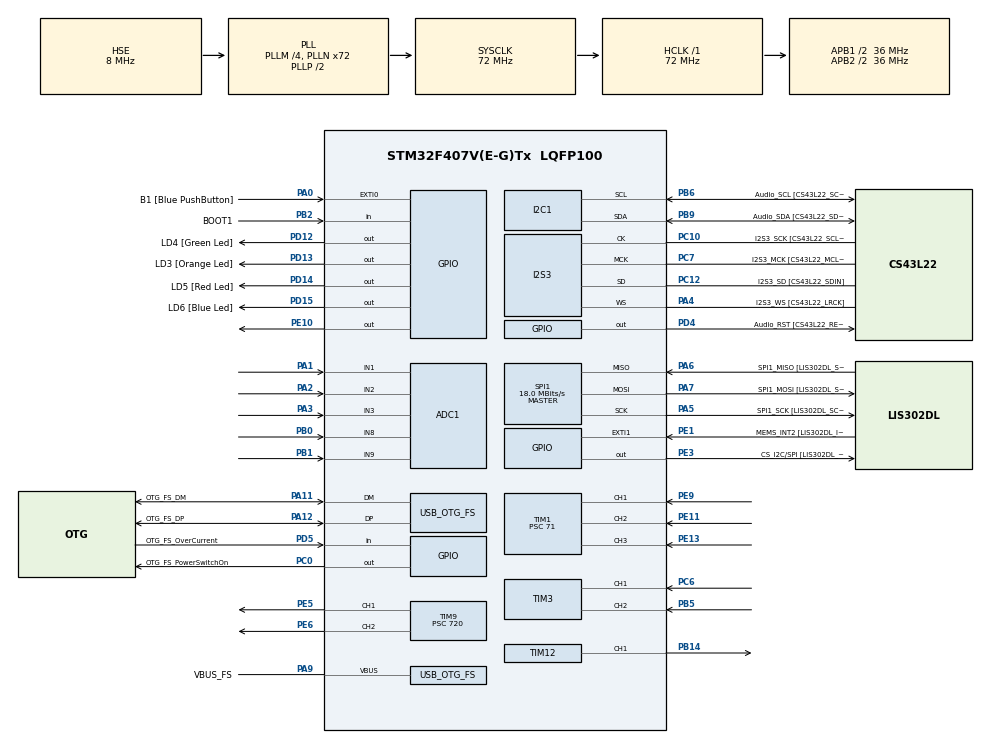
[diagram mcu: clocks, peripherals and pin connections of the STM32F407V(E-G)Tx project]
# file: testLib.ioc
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ADC1.Channel-0\#ChannelRegularConversion=ADC_CHANNEL_1
ADC1.Channel-1\#ChannelRegularConversion=ADC_CHANNEL_2
ADC1.Channel-2\#ChannelRegularConversion=ADC_CHANNEL_3
ADC1.Channel-3\#ChannelRegularConversion=ADC_CHANNEL_8
ADC1.Channel-4\#ChannelRegularConversion=ADC_CHANNEL_9
ADC1.ContinuousConvMode=ENABLE
ADC1.DMAContinuousRequests=ENABLE
ADC1.NbrOfConversion=5
ADC1.NbrOfConversionFlag=1
ADC1.Rank-0\#ChannelRegularConversion=1
ADC1.Rank-1\#ChannelRegularConversion=2
ADC1.Rank-2\#ChannelRegularConversion=3
ADC1.Rank-3\#ChannelRegularConversion=4
ADC1.Rank-4\#ChannelRegularConversion=5
ADC1.SamplingTime-0\#ChannelRegularConversion=ADC_SAMPLETIME_144CYCLES
ADC1.SamplingTime-1\#ChannelRegularConversion=ADC_SAMPLETIME_144CYCLES
ADC1.SamplingTime-2\#ChannelRegularConversion=ADC_SAMPLETIME_144CYCLES
ADC1.SamplingTime-3\#ChannelRegularConversion=ADC_SAMPLETIME_144CYCLES
ADC1.SamplingTime-4\#ChannelRegularConversion=ADC_SAMPLETIME_144CYCLES
ADC1.ScanConvMode=ENABLE
ADC1.master=1
Dma.ADC1.0.Direction=DMA_PERIPH_TO_MEMORY
Dma.ADC1.0.FIFOMode=DMA_FIFOMODE_DISABLE
Dma.ADC1.0.Instance=DMA2_Stream0
Dma.ADC1.0.MemDataAlignment=DMA_MDATAALIGN_HALFWORD
Dma.ADC1.0.MemInc=DMA_MINC_ENABLE
Dma.ADC1.0.Mode=DMA_CIRCULAR
Dma.ADC1.0.PeriphDataAlignment=DMA_PDATAALIGN_HALFWORD
Dma.ADC1.0.PeriphInc=DMA_PINC_DISABLE
Dma.ADC1.0.Priority=DMA_PRIORITY_LOW
Dma.Request0=ADC1
I2S3.AudioFreq=I2S_AUDIOFREQ_96K
I2S3.AudioFreq-Half_Duplex_Master=I2S_AUDIOFREQ_96K
I2S3.ErrorAudioFreq=- %
I2S3.ErrorAudioFreq-Half_Duplex_Master=0.8 %
I2S3.FullDuplexMode=I2S_FULLDUPLEXMODE_DISABLE
I2S3.Instance=SPI$Index
I2S3.RealAudioFreq=- Hz
I2S3.RealAudioFreq-Half_Duplex_Master=96.774 KHz
I2S3.VirtualMode=I2S_MODE_MASTER
Mcu.Family=STM32F4
Mcu.Name=STM32F407V(E-G)Tx
Mcu.Package=LQFP100
NVIC.ADC_IRQn=true\:0\:0\:false\:false\:true\:true\:true\:true
NVIC.DMA2_Stream0_IRQn=true\:0\:0\:false\:false\:true\:false\:true\:true
NVIC.OTG_FS_IRQn=true\:0\:0\:false\:false\:true\:true\:true\:true
NVIC.PriorityGroup=NVIC_PRIORITYGROUP_0
NVIC.TIM1_CC_IRQn=true\:0\:1\:false\:false\:true\:true\:true\:true
NVIC.TIM2_IRQn=true\:0\:0\:false\:false\:true\:true\:true\:true
NVIC.TIM3_IRQn=true\:0\:0\:false\:false\:true\:true\:true\:true
NVIC.TIM8_BRK_TIM12_IRQn=true\:0\:0\:true\:false\:true\:true\:true\:true
PA0-WKUP.GPIO_Label=B1 [Blue PushButton]
PA0-WKUP.GPIO_ModeDefaultEXTI=GPIO_MODE_EVT_RISING
PA0-WKUP.GPIO_PuPd=GPIO_NOPULL
PA0-WKUP.Signal=GPXTI0
PA1.Signal=ADCx_IN1
PA10.GPIO_Label=OTG_FS_ID
PA10.GPIO_Mode=GPIO_MODE_AF_PP
PA10.GPIO_PuPd=GPIO_NOPULL
PA10.GPIO_Speed=GPIO_SPEED_FREQ_LOW
PA10.Signal=USB_OTG_FS_ID
PA11.GPIO_Label=OTG_FS_DM
PA11.GPIO_Mode=GPIO_MODE_AF_PP
PA11.GPIO_PuPd=GPIO_NOPULL
PA11.GPIO_Speed=GPIO_SPEED_FREQ_LOW
PA11.Mode=Host_Only
PA11.Signal=USB_OTG_FS_DM
PA12.GPIO_Label=OTG_FS_DP
PA12.GPIO_Mode=GPIO_MODE_AF_PP
PA12.GPIO_PuPd=GPIO_NOPULL
PA12.GPIO_Speed=GPIO_SPEED_FREQ_LOW
PA12.Mode=Host_Only
PA12.Signal=USB_OTG_FS_DP
PA13.GPIO_Label=SWDIO
PA13.Mode=Serial_Wire
PA13.Signal=SYS_JTMS-SWDIO
PA14.GPIO_Label=SWCLK
PA14.Mode=Serial_Wire
PA14.Signal=SYS_JTCK-SWCLK
PA2.Signal=ADCx_IN2
PA3.Signal=ADCx_IN3
PA4.GPIO_Label=I2S3_WS [CS43L22_LRCK]
PA4.GPIO_Mode=GPIO_MODE_AF_PP
PA4.GPIO_PuPd=GPIO_NOPULL
PA4.GPIO_Speed=GPIO_SPEED_FREQ_LOW
PA4.Mode=Half_Duplex_Master
PA4.Signal=I2S3_WS
PA5.GPIO_Label=SPI1_SCK [LIS302DL_SCL/SPC]
PA5.GPIO_Mode=GPIO_MODE_AF_PP
PA5.GPIO_PuPd=GPIO_NOPULL
PA5.GPIO_Speed=GPIO_SPEED_FREQ_LOW
PA5.Mode=Full_Duplex_Master
PA5.Signal=SPI1_SCK
PA6.GPIO_Label=SPI1_MISO [LIS302DL_SDO]
PA6.GPIO_Mode=GPIO_MODE_AF_PP
PA6.GPIO_PuPd=GPIO_NOPULL
PA6.GPIO_Speed=GPIO_SPEED_FREQ_LOW
PA6.Mode=Full_Duplex_Master
PA6.Signal=SPI1_MISO
PA7.GPIO_Label=SPI1_MOSI [LIS302DL_SDA/SDI/SDO]
PA7.GPIO_Mode=GPIO_MODE_AF_PP
PA7.GPIO_PuPd=GPIO_NOPULL
PA7.GPIO_Speed=GPIO_SPEED_FREQ_LOW
PA7.Mode=Full_Duplex_Master
PA7.Signal=SPI1_MOSI
PA9.GPIO_Label=VBUS_FS
PA9.GPIO_Mode=GPIO_MODE_INPUT
PA9.GPIO_PuPd=GPIO_NOPULL
PA9.Mode=Activate_VBUS
PA9.Signal=USB_OTG_FS_VBUS
PB0.Signal=ADCx_IN8
PB1.Signal=ADCx_IN9
PB10.GPIO_Label=CLK_IN [MP45DT02_CLK]
PB10.GPIO_Mode=GPIO_MODE_AF_PP
PB10.GPIO_PuPd=GPIO_NOPULL
PB10.GPIO_Speed=GPIO_SPEED_FREQ_LOW
PB10.Signal=I2S2_CK
PB14.Signal=S_TIM12_CH1
PB2.GPIO_Label=BOOT1
PB2.GPIO_Mode=GPIO_MODE_INPUT
PB2.GPIO_PuPd=GPIO_NOPULL
PB2.Signal=GPIO_Input
PB3.GPIO_Label=SWO
PB3.Signal=SYS_JTDO-SWO
PB5.Signal=S_TIM3_CH2
PB6.GPIO_Label=Audio_SCL [CS43L22_SCL]
PB6.GPIO_Mode=GPIO_MODE_AF_OD
PB6.GPIO_Pu=GPIO_PULLUP
PB6.GPIO_PuPd=GPIO_NOPULL
PB6.GPIO_Speed=GPIO_SPEED_FREQ_LOW
PB6.Mode=I2C
PB6.Signal=I2C1_SCL
PB9.GPIO_Label=Audio_SDA [CS43L22_SDA]
PB9.GPIO_Mode=GPIO_MODE_AF_OD
PB9.GPIO_Pu=GPIO_PULLUP
PB9.GPIO_PuPd=GPIO_NOPULL
PB9.GPIO_Speed=GPIO_SPEED_FREQ_LOW
PB9.Mode=I2C
PB9.Signal=I2C1_SDA
PC0.GPIO_Label=OTG_FS_PowerSwitchOn
PC0.GPIO_PuPd=GPIO_NOPULL
PC0.GPIO_Speed=GPIO_SPEED_FREQ_LOW
PC0.PinState=GPIO_PIN_SET
PC0.Signal=GPIO_Output
PC10.GPIO_Label=I2S3_SCK [CS43L22_SCLK]
PC10.GPIO_Mode=GPIO_MODE_AF_PP
PC10.GPIO_PuPd=GPIO_NOPULL
PC10.GPIO_Speed=GPIO_SPEED_FREQ_LOW
PC10.Mode=Half_Duplex_Master
PC10.Signal=I2S3_CK
PC12.GPIO_Label=I2S3_SD [CS43L22_SDIN]
PC12.GPIO_Mode=GPIO_MODE_AF_PP
PC12.GPIO_PuPd=GPIO_NOPULL
PC12.GPIO_Speed=GPIO_SPEED_FREQ_LOW
PC12.Mode=Half_Duplex_Master
PC12.Signal=I2S3_SD
PC14-OSC32_IN.GPIO_Label=PC14-OSC32_IN
PC14-OSC32_IN.Mode=LSE-External-Oscillator
PC14-OSC32_IN.Signal=RCC_OSC32_IN
PC15-OSC32_OUT.GPIO_Label=PC15-OSC32_OUT
PC15-OSC32_OUT.Mode=LSE-External-Oscillator
PC15-OSC32_OUT.Signal=RCC_OSC32_OUT
PC3.GPIO_Label=PDM_OUT [MP45DT02_DOUT]
PC3.GPIO_Mode=GPIO_MODE_AF_PP
PC3.GPIO_PuPd=GPIO_NOPULL
PC3.GPIO_Speed=GPIO_SPEED_FREQ_LOW
PC3.Signal=I2S2_SD
PC6.Signal=S_TIM3_CH1
PC7.GPIO_Label=I2S3_MCK [CS43L22_MCLK]
PC7.GPIO_Mode=GPIO_MODE_AF_PP
PC7.GPIO_PuPd=GPIO_NOPULL
PC7.GPIO_Speed=GPIO_SPEED_FREQ_LOW
PC7.Mode=Master_Clock_Activated
PC7.Signal=I2S3_MCK
PD12.GPIO_Label=LD4 [Green Led]
PD12.GPIO_PuPd=GPIO_NOPULL
PD12.GPIO_Speed=GPIO_SPEED_FREQ_LOW
PD12.Signal=GPIO_Output
PD13.GPIO_Label=LD3 [Orange Led]
PD13.GPIO_PuPd=GPIO_NOPULL
PD13.GPIO_Speed=GPIO_SPEED_FREQ_LOW
PD13.Signal=GPIO_Output
PD14.GPIO_Label=LD5 [Red Led]
PD14.GPIO_PuPd=GPIO_NOPULL
PD14.GPIO_Speed=GPIO_SPEED_FREQ_LOW
PD14.Signal=GPIO_Output
PD15.GPIO_Label=LD6 [Blue Led]
PD15.GPIO_PuPd=GPIO_NOPULL
PD15.GPIO_Speed=GPIO_SPEED_FREQ_LOW
PD15.Signal=GPIO_Output
PD4.GPIO_Label=Audio_RST [CS43L22_RESET]
PD4.GPIO_PuPd=GPIO_NOPULL
PD4.GPIO_Speed=GPIO_SPEED_FREQ_LOW
PD4.Signal=GPIO_Output
PD5.GPIO_Label=OTG_FS_OverCurrent
PD5.GPIO_Mode=GPIO_MODE_INPUT
PD5.GPIO_PuPd=GPIO_NOPULL
PD5.Signal=GPIO_Input
PE1.GPIO_Label=MEMS_INT2 [LIS302DL_INT2]
PE1.GPIO_ModeDefaultEXTI=GPIO_MODE_EVT_RISING
PE1.GPIO_PuPd=GPIO_NOPULL
PE1.Signal=GPXTI1
PE10.Signal=GPIO_Output
PE11.Signal=S_TIM1_CH2
PE13.Signal=S_TIM1_CH3
PE3.GPIO_Label=CS_I2C/SPI [LIS302DL_CS_I2C/SPI]
PE3.GPIO_PuPd=GPIO_NOPULL
PE3.GPIO_Speed=GPIO_SPEED_FREQ_LOW
PE3.Signal=GPIO_Output
PE5.Signal=S_TIM9_CH1
PE6.Signal=S_TIM9_CH2
PE9.Signal=S_TIM1_CH1
PH0-OSC_IN.GPIO_Label=PH0-OSC_IN
PH0-OSC_IN.Mode=HSE-External-Oscillator
PH0-OSC_IN.Signal=RCC_OSC_IN
PH1-OSC_OUT.GPIO_Label=PH1-OSC_OUT
PH1-OSC_OUT.Mode=HSE-External-Oscillator
PH1-OSC_OUT.Signal=RCC_OSC_OUT
ProjectManager.HeapSize=0x200
ProjectManager.StackSize=0x400
ProjectManager.TargetToolchain=STM32CubeIDE
RCC.48MHZClocksFreq_Value=48000000
RCC.AHBFreq_Value=72000000
RCC.APB1CLKDivider=RCC_HCLK_DIV2
RCC.APB1Freq_Value=36000000
RCC.APB1TimFreq_Value=72000000
RCC.APB2CLKDivider=RCC_HCLK_DIV2
RCC.APB2Freq_Value=36000000
RCC.APB2TimFreq_Value=72000000
RCC.CortexFreq_Value=72000000
RCC.HCLKFreq_Value=72000000
RCC.HSE_VALUE=8000000
RCC.HSI_VALUE=16000000
RCC.PLLI2SN=50
RCC.PLLM=4
RCC.PLLN=72
RCC.PLLQ=3
RCC.SYSCLKFreq_VALUE=72000000
RCC.SYSCLKSource=RCC_SYSCLKSOURCE_PLLCLK
RCC.VCOOutputFreq_Value=144000000
SH.ADCx_IN1.0=ADC1_IN1,IN1
SH.ADCx_IN2.0=ADC1_IN2,IN2
SH.ADCx_IN3.0=ADC1_IN3,IN3
SH.ADCx_IN8.0=ADC1_IN8,IN8
SH.ADCx_IN9.0=ADC1_IN9,IN9
SH.S_TIM12_CH1.0=TIM12_CH1,PWM Generation1 CH1
SH.S_TIM1_CH1.0=TIM1_CH1,Input_Capture1_from_TI1
SH.S_TIM1_CH2.0=TIM1_CH2,Input_Capture2_from_TI2
SH.S_TIM1_CH3.0=TIM1_CH3,Input_Capture3_from_TI3
SH.S_TIM3_CH1.0=TIM3_CH1,Encoder_Interface
SH.S_TIM3_CH2.0=TIM3_CH2,Encoder_Interface
SH.S_TIM9_CH1.0=TIM9_CH1,PWM Generation1 CH1
SH.S_TIM9_CH2.0=TIM9_CH2,PWM Generation2 CH2
SPI1.BaudRatePrescaler-Full_Duplex_Master=SPI_BAUDRATEPRESCALER_2
SPI1.CalculateBaudRate=18.0 MBits/s
SPI1.CalculateBaudRate-Full_Duplex_Master=42.0 MBits/s
SPI1.Direction=SPI_DIRECTION_2LINES
SPI1.Mode=SPI_MODE_MASTER
SPI1.Mode-Full_Duplex_Master=SPI_MODE_MASTER
SPI1.VirtualType=VM_MASTER
TIM1.Channel-Input_Capture1_from_TI1=TIM_CHANNEL_1
TIM1.Channel-Input_Capture2_from_TI2=TIM_CHANNEL_2
TIM1.Channel-Input_Capture3_from_TI3=TIM_CHANNEL_3
TIM1.ICPolarity_CH1=TIM_INPUTCHANNELPOLARITY_RISING
TIM1.Prescaler=71
TIM12.Channel-PWM\ Generation1\ CH1=TIM_CHANNEL_1
TIM12.Period=9999
TIM12.Prescaler=144-1
TIM12.Pulse-PWM\ Generation1\ CH1=750-1
TIM2.Period=150-1
TIM2.Prescaler=7200-1
TIM3.EncoderMode=TIM_ENCODERMODE_TI12
TIM9.Channel-PWM\ Generation1\ CH1=TIM_CHANNEL_1
TIM9.Channel-PWM\ Generation2\ CH2=TIM_CHANNEL_2
TIM9.Period=1023
TIM9.Prescaler=720
TIM9.Pulse-PWM\ Generation1\ CH1=500
TIM9.Pulse-PWM\ Generation2\ CH2=500
USB_HOST.BSP.number=1
USB_HOST.USBH_HandleTypeDef-CDC_FS=hUsbHostFS
USB_HOST.VirtualModeFS=Cdc
USB_HOST0.BSP.STBoard=false
USB_HOST0.BSP.api=Unknown
USB_HOST0.BSP.instance=PC0
USB_HOST0.BSP.ip=GPIO
USB_HOST0.BSP.mode=Output
USB_HOST0.BSP.name=Drive_VBUS_FS
USB_HOST0.BSP.solution=PC0
USB_OTG_FS.VirtualMode=Host_Only
USB_OTG_FS.phy_itface=HCD_PHY_EMBEDDED
VP_TIM12_VS_ClockSourceINT.Mode=Internal
VP_TIM1_VS_ClockSourceINT.Mode=Internal
VP_TIM2_VS_ClockSourceINT.Mode=Internal
VP_TIM9_VS_ClockSourceINT.Mode=Internal
VP_USB_HOST_VS_USB_HOST_CDC_FS.Mode=CDC_FS
board=STM32F407G-DISC1

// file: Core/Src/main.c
/* USER CODE BEGIN Header */
/**
  ******************************************************************************
  * @file           : main.c
  * @brief          : Main program body
  ******************************************************************************
  * @attention
  *
  * Copyright (c) 2024 STMicroelectronics.
  * All rights reserved.
  *
  * This software is licensed under terms that can be found in the LICENSE file
  * in the root directory of this software component.
  * If no LICENSE file comes with this software, it is provided AS-IS.
  *
  ******************************************************************************
  */
/* USER CODE END Header */
#include "main.h"
#include "usb_host.h"

/* USER CODE BEGIN Includes */
#include ".\PID\PID.h"
#include ".\PWM control\PWMcontrol.h"
#include ".\Encoder\encoder.h"
#include "./ultraSonic/ultraSonic.h"
#include "./AVERAGE FILTER/average_filter.h"
/* USER CODE END Includes */

ADC_HandleTypeDef hadc1;
DMA_HandleTypeDef hdma_adc1;

I2C_HandleTypeDef hi2c1;

I2S_HandleTypeDef hi2s3;

SPI_HandleTypeDef hspi1;

TIM_HandleTypeDef htim1;
TIM_HandleTypeDef htim2;
TIM_HandleTypeDef htim3;
TIM_HandleTypeDef htim9;
TIM_HandleTypeDef htim12;

/* USER CODE BEGIN PV */
PWMcontrol servo;
PWMcontrol motor;
Encoder enc;
ultraSonic sensor1;
ultraSonic sensor2;
ultraSonic sensor3;
ultraSonic temp;
average_filter filter1;
average_filter filter2;
average_filter filter3;
uint16_t adc[5];
/* USER CODE END PV */

void SystemClock_Config(void);
static void MX_GPIO_Init(void);
static void MX_DMA_Init(void);
static void MX_I2C1_Init(void);
static void MX_I2S3_Init(void);
static void MX_SPI1_Init(void);
static void MX_TIM1_Init(void);
static void MX_TIM2_Init(void);
static void MX_TIM3_Init(void);
static void MX_TIM9_Init(void);
static void MX_ADC1_Init(void);
static void MX_TIM12_Init(void);
void MX_USB_HOST_Process(void);

int main(void)
{

  /* MCU Configuration--------------------------------------------------------*/

  /* Reset of all peripherals, Initializes the Flash interface and the Systick. */
  HAL_Init();

  /* Configure the system clock */
  SystemClock_Config();

  /* Initialize all configured peripherals */
  MX_GPIO_Init();
  MX_DMA_Init();
  MX_I2C1_Init();
  MX_I2S3_Init();
  MX_SPI1_Init();
  MX_USB_HOST_Init();
  MX_TIM1_Init();
  MX_TIM2_Init();
  MX_TIM3_Init();
  MX_TIM9_Init();
  MX_ADC1_Init();
  MX_TIM12_Init();
  /* USER CODE BEGIN 2 */
  	ultraSonic_Init(&sensor1, &htim1, &filter1, GPIOE, GPIO_PIN_10);
    ultraSonic_Init(&sensor2, &htim1, &filter2, GPIOE, GPIO_PIN_10);
    ultraSonic_Init(&sensor3, &htim1, &filter3, GPIOE, GPIO_PIN_10);
    HAL_TIM_PWM_Start(&htim12, TIM_CHANNEL_1);
    Servo_Init(&servo, &htim12, TIM_CHANNEL_1, 750);
    HAL_TIM_PWM_Start(&htim9, TIM_CHANNEL_1);
    HAL_TIM_PWM_Start(&htim9, TIM_CHANNEL_2);
    Motor_Init(&motor, &htim9, TIM_CHANNEL_1, TIM_CHANNEL_2);
    Encoder_Init(&enc, &htim3);
    HAL_ADC_Start_DMA(&hadc1,(uint32_t *)adc, 5);
    HAL_TIM_Base_Start_IT(&htim2);
  /* USER CODE END 2 */

  /* Infinite loop */
  while (1)
  {
    MX_USB_HOST_Process();

    /* USER CODE BEGIN 3 */
    set_motor(&motor, BACKWARD, 500);
//    set_servo(&servo, 250);
//    HAL_Delay(1000);
//    set_servo(&servo, 1200);
//    HAL_Delay(1000);
  }
  /* USER CODE END 3 */
}

void SystemClock_Config(void)
{
  RCC_OscInitTypeDef RCC_OscInitStruct = {0};
  RCC_ClkInitTypeDef RCC_ClkInitStruct = {0};

  /** Configure the main internal regulator output voltage
  */
  __HAL_RCC_PWR_CLK_ENABLE();
  __HAL_PWR_VOLTAGESCALING_CONFIG(PWR_REGULATOR_VOLTAGE_SCALE1);

  /** Initializes the RCC Oscillators according to the specified parameters
  * in the RCC_OscInitTypeDef structure.
  */
  RCC_OscInitStruct.OscillatorType = RCC_OSCILLATORTYPE_HSE;
  RCC_OscInitStruct.HSEState = RCC_HSE_ON;
  RCC_OscInitStruct.PLL.PLLState = RCC_PLL_ON;
  RCC_OscInitStruct.PLL.PLLSource = RCC_PLLSOURCE_HSE;
  RCC_OscInitStruct.PLL.PLLM = 4;
  RCC_OscInitStruct.PLL.PLLN = 72;
  RCC_OscInitStruct.PLL.PLLP = RCC_PLLP_DIV2;
  RCC_OscInitStruct.PLL.PLLQ = 3;
  if (HAL_RCC_OscConfig(&RCC_OscInitStruct) != HAL_OK)
  {
    Error_Handler();
  }

  /** Initializes the CPU, AHB and APB buses clocks
  */
  RCC_ClkInitStruct.ClockType = RCC_CLOCKTYPE_HCLK|RCC_CLOCKTYPE_SYSCLK
                              |RCC_CLOCKTYPE_PCLK1|RCC_CLOCKTYPE_PCLK2;
  RCC_ClkInitStruct.SYSCLKSource = RCC_SYSCLKSOURCE_PLLCLK;
  RCC_ClkInitStruct.AHBCLKDivider = RCC_SYSCLK_DIV1;
  RCC_ClkInitStruct.APB1CLKDivider = RCC_HCLK_DIV2;
  RCC_ClkInitStruct.APB2CLKDivider = RCC_HCLK_DIV2;

  if (HAL_RCC_ClockConfig(&RCC_ClkInitStruct, FLASH_LATENCY_2) != HAL_OK)
  {
    Error_Handler();
  }
}

static void MX_ADC1_Init(void)
{

  ADC_ChannelConfTypeDef sConfig = {0};

  /** Configure the global features of the ADC (Clock, Resolution, Data Alignment and number of conversion)
  */
  hadc1.Instance = ADC1;
  hadc1.Init.ClockPrescaler = ADC_CLOCK_SYNC_PCLK_DIV2;
  hadc1.Init.Resolution = ADC_RESOLUTION_12B;
  hadc1.Init.ScanConvMode = ENABLE;
  hadc1.Init.ContinuousConvMode = ENABLE;
  hadc1.Init.DiscontinuousConvMode = DISABLE;
  hadc1.Init.ExternalTrigConvEdge = ADC_EXTERNALTRIGCONVEDGE_NONE;
  hadc1.Init.ExternalTrigConv = ADC_SOFTWARE_START;
  hadc1.Init.DataAlign = ADC_DATAALIGN_RIGHT;
  hadc1.Init.NbrOfConversion = 5;
  hadc1.Init.DMAContinuousRequests = ENABLE;
  hadc1.Init.EOCSelection = ADC_EOC_SINGLE_CONV;
  if (HAL_ADC_Init(&hadc1) != HAL_OK)
  {
    Error_Handler();
  }

  /** Configure for the selected ADC regular channel its corresponding rank in the sequencer and its sample time.
  */
  sConfig.Channel = ADC_CHANNEL_1;
  sConfig.Rank = 1;
  sConfig.SamplingTime = ADC_SAMPLETIME_144CYCLES;
  if (HAL_ADC_ConfigChannel(&hadc1, &sConfig) != HAL_OK)
  {
    Error_Handler();
  }

  /** Configure for the selected ADC regular channel its corresponding rank in the sequencer and its sample time.
  */
  sConfig.Channel = ADC_CHANNEL_2;
  sConfig.Rank = 2;
  if (HAL_ADC_ConfigChannel(&hadc1, &sConfig) != HAL_OK)
  {
    Error_Handler();
  }

  /** Configure for the selected ADC regular channel its corresponding rank in the sequencer and its sample time.
  */
  sConfig.Channel = ADC_CHANNEL_3;
  sConfig.Rank = 3;
  if (HAL_ADC_ConfigChannel(&hadc1, &sConfig) != HAL_OK)
  {
    Error_Handler();
  }

  /** Configure for the selected ADC regular channel its corresponding rank in the sequencer and its sample time.
  */
  sConfig.Channel = ADC_CHANNEL_8;
  sConfig.Rank = 4;
  if (HAL_ADC_ConfigChannel(&hadc1, &sConfig) != HAL_OK)
  {
    Error_Handler();
  }

  /** Configure for the selected ADC regular channel its corresponding rank in the sequencer and its sample time.
  */
  sConfig.Channel = ADC_CHANNEL_9;
  sConfig.Rank = 5;
  if (HAL_ADC_ConfigChannel(&hadc1, &sConfig) != HAL_OK)
  {
    Error_Handler();
  }

}

static void MX_I2C1_Init(void)
{

  hi2c1.Instance = I2C1;
  hi2c1.Init.ClockSpeed = 100000;
  hi2c1.Init.DutyCycle = I2C_DUTYCYCLE_2;
  hi2c1.Init.OwnAddress1 = 0;
  hi2c1.Init.AddressingMode = I2C_ADDRESSINGMODE_7BIT;
  hi2c1.Init.DualAddressMode = I2C_DUALADDRESS_DISABLE;
  hi2c1.Init.OwnAddress2 = 0;
  hi2c1.Init.GeneralCallMode = I2C_GENERALCALL_DISABLE;
  hi2c1.Init.NoStretchMode = I2C_NOSTRETCH_DISABLE;
  if (HAL_I2C_Init(&hi2c1) != HAL_OK)
  {
    Error_Handler();
  }

}

static void MX_I2S3_Init(void)
{

  hi2s3.Instance = SPI3;
  hi2s3.Init.Mode = I2S_MODE_MASTER_TX;
  hi2s3.Init.Standard = I2S_STANDARD_PHILIPS;
  hi2s3.Init.DataFormat = I2S_DATAFORMAT_16B;
  hi2s3.Init.MCLKOutput = I2S_MCLKOUTPUT_ENABLE;
  hi2s3.Init.AudioFreq = I2S_AUDIOFREQ_96K;
  hi2s3.Init.CPOL = I2S_CPOL_LOW;
  hi2s3.Init.ClockSource = I2S_CLOCK_PLL;
  hi2s3.Init.FullDuplexMode = I2S_FULLDUPLEXMODE_DISABLE;
  if (HAL_I2S_Init(&hi2s3) != HAL_OK)
  {
    Error_Handler();
  }

}

static void MX_SPI1_Init(void)
{

  /* SPI1 parameter configuration*/
  hspi1.Instance = SPI1;
  hspi1.Init.Mode = SPI_MODE_MASTER;
  hspi1.Init.Direction = SPI_DIRECTION_2LINES;
  hspi1.Init.DataSize = SPI_DATASIZE_8BIT;
  hspi1.Init.CLKPolarity = SPI_POLARITY_LOW;
  hspi1.Init.CLKPhase = SPI_PHASE_1EDGE;
  hspi1.Init.NSS = SPI_NSS_SOFT;
  hspi1.Init.BaudRatePrescaler = SPI_BAUDRATEPRESCALER_2;
  hspi1.Init.FirstBit = SPI_FIRSTBIT_MSB;
  hspi1.Init.TIMode = SPI_TIMODE_DISABLE;
  hspi1.Init.CRCCalculation = SPI_CRCCALCULATION_DISABLE;
  hspi1.Init.CRCPolynomial = 10;
  if (HAL_SPI_Init(&hspi1) != HAL_OK)
  {
    Error_Handler();
  }

}

static void MX_TIM1_Init(void)
{

  TIM_ClockConfigTypeDef sClockSourceConfig = {0};
  TIM_MasterConfigTypeDef sMasterConfig = {0};
  TIM_IC_InitTypeDef sConfigIC = {0};

  htim1.Instance = TIM1;
  htim1.Init.Prescaler = 71;
  htim1.Init.CounterMode = TIM_COUNTERMODE_UP;
  htim1.Init.Period = 65535;
  htim1.Init.ClockDivision = TIM_CLOCKDIVISION_DIV1;
  htim1.Init.RepetitionCounter = 0;
  htim1.Init.AutoReloadPreload = TIM_AUTORELOAD_PRELOAD_DISABLE;
  if (HAL_TIM_Base_Init(&htim1) != HAL_OK)
  {
    Error_Handler();
  }
  sClockSourceConfig.ClockSource = TIM_CLOCKSOURCE_INTERNAL;
  if (HAL_TIM_ConfigClockSource(&htim1, &sClockSourceConfig) != HAL_OK)
  {
    Error_Handler();
  }
  if (HAL_TIM_IC_Init(&htim1) != HAL_OK)
  {
    Error_Handler();
  }
  sMasterConfig.MasterOutputTrigger = TIM_TRGO_RESET;
  sMasterConfig.MasterSlaveMode = TIM_MASTERSLAVEMODE_DISABLE;
  if (HAL_TIMEx_MasterConfigSynchronization(&htim1, &sMasterConfig) != HAL_OK)
  {
    Error_Handler();
  }
  sConfigIC.ICPolarity = TIM_INPUTCHANNELPOLARITY_RISING;
  sConfigIC.ICSelection = TIM_ICSELECTION_DIRECTTI;
  sConfigIC.ICPrescaler = TIM_ICPSC_DIV1;
  sConfigIC.ICFilter = 0;
  if (HAL_TIM_IC_ConfigChannel(&htim1, &sConfigIC, TIM_CHANNEL_1) != HAL_OK)
  {
    Error_Handler();
  }
  if (HAL_TIM_IC_ConfigChannel(&htim1, &sConfigIC, TIM_CHANNEL_2) != HAL_OK)
  {
    Error_Handler();
  }
  if (HAL_TIM_IC_ConfigChannel(&htim1, &sConfigIC, TIM_CHANNEL_3) != HAL_OK)
  {
    Error_Handler();
  }

}

static void MX_TIM2_Init(void)
{

  TIM_ClockConfigTypeDef sClockSourceConfig = {0};
  TIM_MasterConfigTypeDef sMasterConfig = {0};

  htim2.Instance = TIM2;
  htim2.Init.Prescaler = 7200-1;
  htim2.Init.CounterMode = TIM_COUNTERMODE_UP;
  htim2.Init.Period = 150-1;
  htim2.Init.ClockDivision = TIM_CLOCKDIVISION_DIV1;
  htim2.Init.AutoReloadPreload = TIM_AUTORELOAD_PRELOAD_DISABLE;
  if (HAL_TIM_Base_Init(&htim2) != HAL_OK)
  {
    Error_Handler();
  }
  sClockSourceConfig.ClockSource = TIM_CLOCKSOURCE_INTERNAL;
  if (HAL_TIM_ConfigClockSource(&htim2, &sClockSourceConfig) != HAL_OK)
  {
    Error_Handler();
  }
  sMasterConfig.MasterOutputTrigger = TIM_TRGO_RESET;
  sMasterConfig.MasterSlaveMode = TIM_MASTERSLAVEMODE_DISABLE;
  if (HAL_TIMEx_MasterConfigSynchronization(&htim2, &sMasterConfig) != HAL_OK)
  {
    Error_Handler();
  }

}

static void MX_TIM3_Init(void)
{

  TIM_Encoder_InitTypeDef sConfig = {0};
  TIM_MasterConfigTypeDef sMasterConfig = {0};

  htim3.Instance = TIM3;
  htim3.Init.Prescaler = 0;
  htim3.Init.CounterMode = TIM_COUNTERMODE_UP;
  htim3.Init.Period = 65535;
  htim3.Init.ClockDivision = TIM_CLOCKDIVISION_DIV1;
  htim3.Init.AutoReloadPreload = TIM_AUTORELOAD_PRELOAD_DISABLE;
  sConfig.EncoderMode = TIM_ENCODERMODE_TI12;
  sConfig.IC1Polarity = TIM_ICPOLARITY_RISING;
  sConfig.IC1Selection = TIM_ICSELECTION_DIRECTTI;
  sConfig.IC1Prescaler = TIM_ICPSC_DIV1;
  sConfig.IC1Filter = 0;
  sConfig.IC2Polarity = TIM_ICPOLARITY_RISING;
  sConfig.IC2Selection = TIM_ICSELECTION_DIRECTTI;
  sConfig.IC2Prescaler = TIM_ICPSC_DIV1;
  sConfig.IC2Filter = 0;
  if (HAL_TIM_Encoder_Init(&htim3, &sConfig) != HAL_OK)
  {
    Error_Handler();
  }
  sMasterConfig.MasterOutputTrigger = TIM_TRGO_RESET;
  sMasterConfig.MasterSlaveMode = TIM_MASTERSLAVEMODE_DISABLE;
  if (HAL_TIMEx_MasterConfigSynchronization(&htim3, &sMasterConfig) != HAL_OK)
  {
    Error_Handler();
  }

}

static void MX_TIM9_Init(void)
{

  TIM_ClockConfigTypeDef sClockSourceConfig = {0};
  TIM_OC_InitTypeDef sConfigOC = {0};

  htim9.Instance = TIM9;
  htim9.Init.Prescaler = 720;
  htim9.Init.CounterMode = TIM_COUNTERMODE_UP;
  htim9.Init.Period = 1023;
  htim9.Init.ClockDivision = TIM_CLOCKDIVISION_DIV1;
  htim9.Init.AutoReloadPreload = TIM_AUTORELOAD_PRELOAD_DISABLE;
  if (HAL_TIM_Base_Init(&htim9) != HAL_OK)
  {
    Error_Handler();
  }
  sClockSourceConfig.ClockSource = TIM_CLOCKSOURCE_INTERNAL;
  if (HAL_TIM_ConfigClockSource(&htim9, &sClockSourceConfig) != HAL_OK)
  {
    Error_Handler();
  }
  if (HAL_TIM_PWM_Init(&htim9) != HAL_OK)
  {
    Error_Handler();
  }
  sConfigOC.OCMode = TIM_OCMODE_PWM1;
  sConfigOC.Pulse = 500;
  sConfigOC.OCPolarity = TIM_OCPOLARITY_HIGH;
  sConfigOC.OCFastMode = TIM_OCFAST_DISABLE;
  if (HAL_TIM_PWM_ConfigChannel(&htim9, &sConfigOC, TIM_CHANNEL_1) != HAL_OK)
  {
    Error_Handler();
  }
  if (HAL_TIM_PWM_ConfigChannel(&htim9, &sConfigOC, TIM_CHANNEL_2) != HAL_OK)
  {
    Error_Handler();
  }
  HAL_TIM_MspPostInit(&htim9);

}

static void MX_TIM12_Init(void)
{

  TIM_ClockConfigTypeDef sClockSourceConfig = {0};
  TIM_OC_InitTypeDef sConfigOC = {0};

  htim12.Instance = TIM12;
  htim12.Init.Prescaler = 144-1;
  htim12.Init.CounterMode = TIM_COUNTERMODE_UP;
  htim12.Init.Period = 9999;
  htim12.Init.ClockDivision = TIM_CLOCKDIVISION_DIV1;
  htim12.Init.AutoReloadPreload = TIM_AUTORELOAD_PRELOAD_DISABLE;
  if (HAL_TIM_Base_Init(&htim12) != HAL_OK)
  {
    Error_Handler();
  }
  sClockSourceConfig.ClockSource = TIM_CLOCKSOURCE_INTERNAL;
  if (HAL_TIM_ConfigClockSource(&htim12, &sClockSourceConfig) != HAL_OK)
  {
    Error_Handler();
  }
  if (HAL_TIM_PWM_Init(&htim12) != HAL_OK)
  {
    Error_Handler();
  }
  sConfigOC.OCMode = TIM_OCMODE_PWM1;
  sConfigOC.Pulse = 750-1;
  sConfigOC.OCPolarity = TIM_OCPOLARITY_HIGH;
  sConfigOC.OCFastMode = TIM_OCFAST_DISABLE;
  if (HAL_TIM_PWM_ConfigChannel(&htim12, &sConfigOC, TIM_CHANNEL_1) != HAL_OK)
  {
    Error_Handler();
  }
  HAL_TIM_MspPostInit(&htim12);

}

static void MX_DMA_Init(void)
{

  /* DMA controller clock enable */
  __HAL_RCC_DMA2_CLK_ENABLE();

  /* DMA interrupt init */
  /* DMA2_Stream0_IRQn interrupt configuration */
  HAL_NVIC_SetPriority(DMA2_Stream0_IRQn, 0, 0);
  HAL_NVIC_EnableIRQ(DMA2_Stream0_IRQn);

}

static void MX_GPIO_Init(void)
{
  GPIO_InitTypeDef GPIO_InitStruct = {0};

  /* GPIO Ports Clock Enable */
  __HAL_RCC_GPIOE_CLK_ENABLE();
  __HAL_RCC_GPIOC_CLK_ENABLE();
  __HAL_RCC_GPIOH_CLK_ENABLE();
  __HAL_RCC_GPIOA_CLK_ENABLE();
  __HAL_RCC_GPIOB_CLK_ENABLE();
  __HAL_RCC_GPIOD_CLK_ENABLE();

  /*Configure GPIO pin Output Level */
  HAL_GPIO_WritePin(GPIOE, CS_I2C_SPI_Pin|GPIO_PIN_10, GPIO_PIN_RESET);

  /*Configure GPIO pin Output Level */
  HAL_GPIO_WritePin(OTG_FS_PowerSwitchOn_GPIO_Port, OTG_FS_PowerSwitchOn_Pin, GPIO_PIN_SET);

  /*Configure GPIO pin Output Level */
  HAL_GPIO_WritePin(GPIOD, LD4_Pin|LD3_Pin|LD5_Pin|LD6_Pin
                          |Audio_RST_Pin, GPIO_PIN_RESET);

  /*Configure GPIO pins : CS_I2C_SPI_Pin PE10 */
  GPIO_InitStruct.Pin = CS_I2C_SPI_Pin|GPIO_PIN_10;
  GPIO_InitStruct.Mode = GPIO_MODE_OUTPUT_PP;
  GPIO_InitStruct.Pull = GPIO_NOPULL;
  GPIO_InitStruct.Speed = GPIO_SPEED_FREQ_LOW;
  HAL_GPIO_Init(GPIOE, &GPIO_InitStruct);

  /*Configure GPIO pin : OTG_FS_PowerSwitchOn_Pin */
  GPIO_InitStruct.Pin = OTG_FS_PowerSwitchOn_Pin;
  GPIO_InitStruct.Mode = GPIO_MODE_OUTPUT_PP;
  GPIO_InitStruct.Pull = GPIO_NOPULL;
  GPIO_InitStruct.Speed = GPIO_SPEED_FREQ_LOW;
  HAL_GPIO_Init(OTG_FS_PowerSwitchOn_GPIO_Port, &GPIO_InitStruct);

  /*Configure GPIO pin : PDM_OUT_Pin */
  GPIO_InitStruct.Pin = PDM_OUT_Pin;
  GPIO_InitStruct.Mode = GPIO_MODE_AF_PP;
  GPIO_InitStruct.Pull = GPIO_NOPULL;
  GPIO_InitStruct.Speed = GPIO_SPEED_FREQ_LOW;
  GPIO_InitStruct.Alternate = GPIO_AF5_SPI2;
  HAL_GPIO_Init(PDM_OUT_GPIO_Port, &GPIO_InitStruct);

  /*Configure GPIO pin : B1_Pin */
  GPIO_InitStruct.Pin = B1_Pin;
  GPIO_InitStruct.Mode = GPIO_MODE_EVT_RISING;
  GPIO_InitStruct.Pull = GPIO_NOPULL;
  HAL_GPIO_Init(B1_GPIO_Port, &GPIO_InitStruct);

  /*Configure GPIO pin : BOOT1_Pin */
  GPIO_InitStruct.Pin = BOOT1_Pin;
  GPIO_InitStruct.Mode = GPIO_MODE_INPUT;
  GPIO_InitStruct.Pull = GPIO_NOPULL;
  HAL_GPIO_Init(BOOT1_GPIO_Port, &GPIO_InitStruct);

  /*Configure GPIO pin : CLK_IN_Pin */
  GPIO_InitStruct.Pin = CLK_IN_Pin;
  GPIO_InitStruct.Mode = GPIO_MODE_AF_PP;
  GPIO_InitStruct.Pull = GPIO_NOPULL;
  GPIO_InitStruct.Speed = GPIO_SPEED_FREQ_LOW;
  GPIO_InitStruct.Alternate = GPIO_AF5_SPI2;
  HAL_GPIO_Init(CLK_IN_GPIO_Port, &GPIO_InitStruct);

  /*Configure GPIO pins : LD4_Pin LD3_Pin LD5_Pin LD6_Pin
                           Audio_RST_Pin */
  GPIO_InitStruct.Pin = LD4_Pin|LD3_Pin|LD5_Pin|LD6_Pin
                          |Audio_RST_Pin;
  GPIO_InitStruct.Mode = GPIO_MODE_OUTPUT_PP;
  GPIO_InitStruct.Pull = GPIO_NOPULL;
  GPIO_InitStruct.Speed = GPIO_SPEED_FREQ_LOW;
  HAL_GPIO_Init(GPIOD, &GPIO_InitStruct);

  /*Configure GPIO pin : OTG_FS_OverCurrent_Pin */
  GPIO_InitStruct.Pin = OTG_FS_OverCurrent_Pin;
  GPIO_InitStruct.Mode = GPIO_MODE_INPUT;
  GPIO_InitStruct.Pull = GPIO_NOPULL;
  HAL_GPIO_Init(OTG_FS_OverCurrent_GPIO_Port, &GPIO_InitStruct);

  /*Configure GPIO pin : MEMS_INT2_Pin */
  GPIO_InitStruct.Pin = MEMS_INT2_Pin;
  GPIO_InitStruct.Mode = GPIO_MODE_EVT_RISING;
  GPIO_InitStruct.Pull = GPIO_NOPULL;
  HAL_GPIO_Init(MEMS_INT2_GPIO_Port, &GPIO_InitStruct);

}

/* USER CODE BEGIN 4 */
void HAL_TIM_PeriodElapsedCallback(TIM_HandleTypeDef *htim)
{
	if (htim->Instance == htim2.Instance) // make sure
	{
		activeTrigger(&sensor1);
		HAL_TIM_IC_Start_IT((&sensor1)->htim, TIM_CHANNEL_1);
		HAL_TIM_IC_Start_IT((&sensor2)->htim, TIM_CHANNEL_2);
		HAL_TIM_IC_Start_IT((&sensor3)->htim, TIM_CHANNEL_3);
		updateEncoder(&enc, ((TIM3->SMCR & 0x3) == 0x3));
	}
}

void HAL_TIM_IC_CaptureCallback (TIM_HandleTypeDef* htim)
{
	if (htim->Channel == HAL_TIM_ACTIVE_CHANNEL_1)
	{
		updateDistance(&sensor1, TIM_CHANNEL_1);
	}
	else if (htim->Channel == HAL_TIM_ACTIVE_CHANNEL_2)
	{
		updateDistance(&sensor2, TIM_CHANNEL_2);
	}
	else if (htim->Channel == HAL_TIM_ACTIVE_CHANNEL_3)
	{
		updateDistance(&sensor3, TIM_CHANNEL_3);
	}
}

void SysTick_CallBack(void)
 {
     //for example
//     time++;
//     if (time >= 270) //25ms
//     {
//         activeTrigger(&sensor);
//         HAL_TIM_IC_Start_IT((&sensor)->htim, TIM_CHANNEL_1);
//         time = 0;
//     }
 }
/* USER CODE END 4 */

void Error_Handler(void)
{
  __disable_irq();
  while (1)
  {
  }
}
